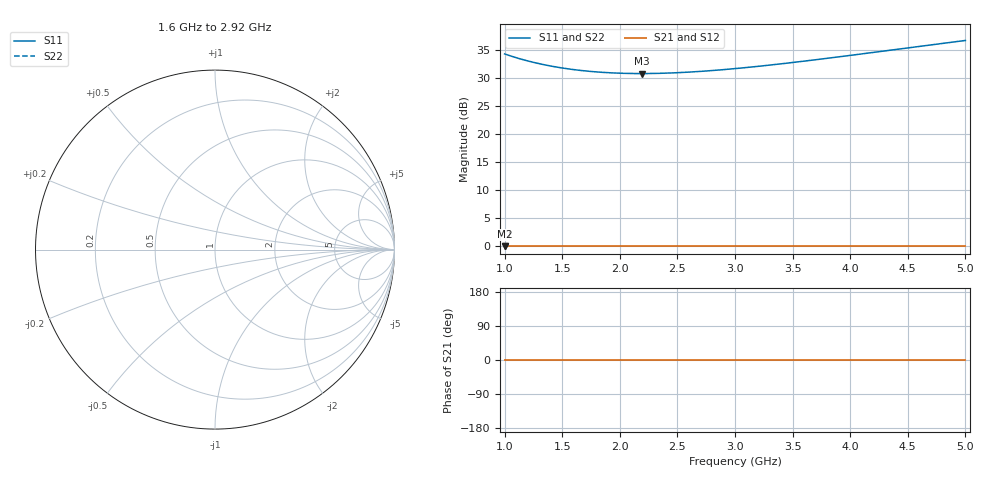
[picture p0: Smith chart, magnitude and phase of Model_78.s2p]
# GHZ S RI R 50
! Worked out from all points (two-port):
!   401 points, 1 GHz to 5 GHz, reference 50 ohm
!   highest |S21| = 0.00 dB at 1 GHz (marker M1); lowest = 0.0 dB at 1 GHz (marker M2)
!   |S21| within 3 dB of the highest: start of sweep to end of sweep
!   lowest |S11| = 30.8 dB at 2.19 GHz (marker M3)
!   |S11| at or under -10 dB: nowhere
!   |S22| runs from 30.8 to 36.7 dB; largest |S21 - S12| = 0
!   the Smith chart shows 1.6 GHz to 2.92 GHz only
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1  51.95 0  1 0  1 0  51.95 0
1.15  46.47 0  1 0  1 0  46.47 0
1.22  44.47 0  1 0  1 0  44.47 0
1.3  42.53 0  1 0  1 0  42.53 0
1.38  40.89 0  1 0  1 0  40.89 0
1.47  39.36 0  1 0  1 0  39.36 0
1.57  37.99 0  1 0  1 0  37.99 0
1.67  36.91 0  1 0  1 0  36.91 0
1.79  35.95 0  1 0  1 0  35.95 0
1.92  35.24 0  1 0  1 0  35.24 0
2.05  34.85 0  1 0  1 0  34.85 0
2.19  34.71 0  1 0  1 0  34.71 0
2.34  34.87 0  1 0  1 0  34.87 0
2.5  35.33 0  1 0  1 0  35.33 0
2.66  36.06 0  1 0  1 0  36.06 0
3  38.42 0  1 0  1 0  38.42 0
3.33  41.6 0  1 0  1 0  41.6 0
3.67  45.7 0  1 0  1 0  45.7 0
4  50.4 0  1 0  1 0  50.4 0
4.34  55.93 0  1 0  1 0  55.93 0
4.63  61.17 0  1 0  1 0  61.17 0
5  68.53 0  1 0  1 0  68.53 0
